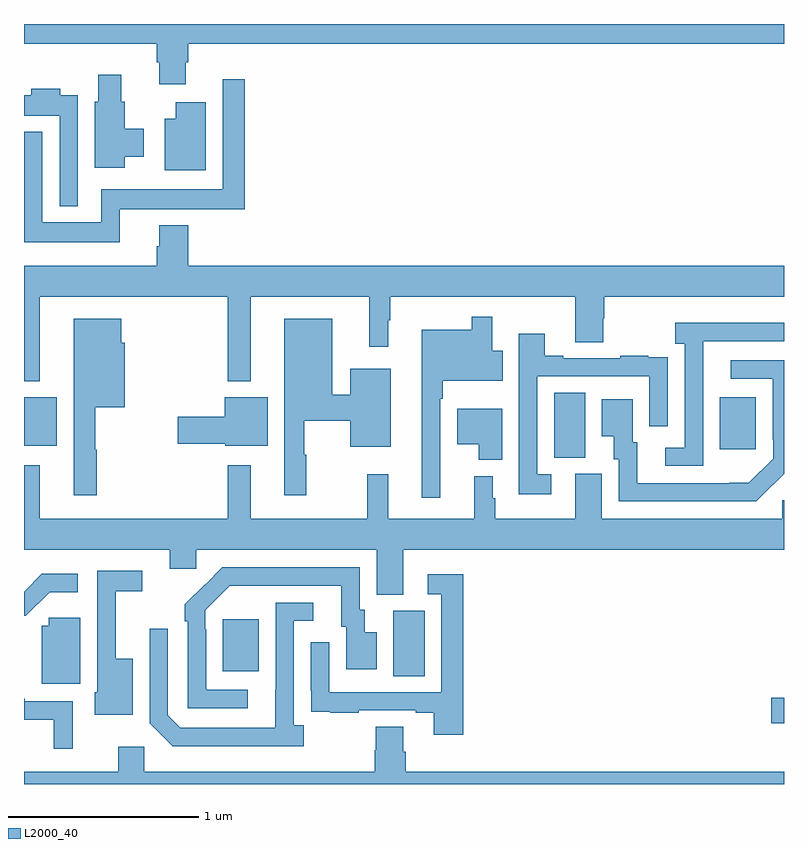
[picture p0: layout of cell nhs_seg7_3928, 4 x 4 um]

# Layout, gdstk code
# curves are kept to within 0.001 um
import gdstk
lib = gdstk.Library(unit=1e-6, precision=1e-09)
def R(c, l, rs):  # rectangles x0, y0, x1, y1
    for r in rs: c.add(gdstk.rectangle(r[:2], r[2:], *l))
def P(c, l, *ps):  # polygons
    for p in ps: c.add(gdstk.Polygon(p, *l))
L2000_40 = (2000, 40)

nhs_seg7_3928 = lib.new_cell('nhs_seg7_3928')
R(nhs_seg7_3928, L2000_40, [(362.934,1050.32,363,1050.455), (360.944,1050.568,361.108,1050.912), (360.047,1050.593,360.235,1050.868), (361.79,1051.717,361.954,1052.06), (362.663,1051.761,362.851,1052.035), (359,1051.781,359.173,1052.035)])
P(nhs_seg7_3928, L2000_40, [(359.851,1053.798),(359.864,1053.798),(359.864,1053.896),(363,1053.896),(363,1054),(359,1054),(359,1053.896),(359.699,1053.896),(359.699,1053.798),(359.711,1053.798),(359.711,1053.684),(359.851,1053.684)],
  [(359.53,1053.302),(359.629,1053.302),(359.629,1053.45),(359.53,1053.45),(359.53,1053.591),(359.512,1053.591),(359.512,1053.733),(359.39,1053.733),(359.39,1053.591),(359.372,1053.591),(359.372,1053.243),(359.53,1053.243)],
  [(359.504,1053.026),(360.038,1053.026),(360.038,1053.024),(360.161,1053.024),(360.161,1053.709),(360.045,1053.709),(360.045,1053.13),(359.406,1053.13),(359.406,1052.956),(359.097,1052.956),(359.097,1053.433),(359,1053.433),(359,1052.852),(359.504,1052.852)],
  [(359.283,1053.625),(359.191,1053.625),(359.191,1053.658),(359.039,1053.658),(359.039,1053.625),(359,1053.625),(359,1053.518),(359.187,1053.518),(359.187,1053.041),(359.283,1053.041)],
  [(359.956,1053.589),(359.798,1053.589),(359.798,1053.502),(359.741,1053.502),(359.741,1053.23),(359.956,1053.23)],
  [(359.083,1052.564),(360.072,1052.564),(360.072,1052.12),(360.193,1052.12),(360.193,1052.564),(360.818,1052.564),(360.818,1052.301),(360.916,1052.301),(360.916,1052.441),(360.928,1052.441),(360.928,1052.564),(361.901,1052.564),(361.901,1052.326),(362.049,1052.326),(362.049,1052.451),(362.054,1052.451),(362.054,1052.564),(363,1052.564),(363,1052.728),(359.864,1052.728),(359.864,1052.941),(359.711,1052.941),(359.711,1052.829),(359.699,1052.829),(359.699,1052.728),(359,1052.728),(359,1052.12),(359.083,1052.12)],
  [(361.191,1052.027),(361.204,1052.027),(361.204,1052.123),(361.519,1052.123),(361.519,1052.281),(361.465,1052.281),(361.465,1052.458),(361.356,1052.458),(361.356,1052.392),(361.094,1052.392),(361.094,1051.506),(361.191,1051.506)],
  [(360.485,1051.734),(360.475,1051.734),(360.475,1051.912),(360.716,1051.912),(360.716,1051.775),(360.931,1051.775),(360.931,1052.185),(360.716,1052.185),(360.716,1052.048),(360.622,1052.048),(360.622,1052.449),(360.371,1052.449),(360.371,1051.521),(360.485,1051.521)],
  [(359.383,1051.76),(359.375,1051.76),(359.375,1051.982),(359.53,1051.982),(359.53,1052.322),(359.512,1052.322),(359.512,1052.449),(359.261,1052.449),(359.261,1051.521),(359.383,1051.521)],
  [(362.574,1052.131),(362.575,1052.131),(362.575,1052.331),(363,1052.331),(363,1052.428),(362.427,1052.428),(362.427,1052.318),(362.478,1052.318),(362.478,1051.77),(362.376,1051.77),(362.376,1051.674),(362.574,1051.674)],
  [(361.774,1051.629),(361.701,1051.629),(361.701,1052.145),(362.292,1052.145),(362.292,1051.884),(362.388,1051.884),(362.388,1052.138),(362.387,1052.138),(362.387,1052.247),(362.285,1052.247),(362.285,1052.254),(362.137,1052.254),(362.137,1052.241),(361.837,1052.241),(361.837,1052.254),(361.741,1052.254),(361.741,1052.371),(361.605,1052.371),(361.605,1051.524),(361.774,1051.524)],
  [(362.945,1051.579),(362.946,1051.578),(363,1051.632),(363,1052.229),(362.721,1052.229),(362.721,1052.133),(362.94,1052.133),(362.94,1051.813),(362.943,1051.813),(362.943,1051.713),(362.815,1051.585),(362.227,1051.584),(362.227,1051.8),(362.203,1051.8),(362.203,1052.026),(362.042,1052.026),(362.042,1051.829),(362.105,1051.829),(362.105,1051.71),(362.13,1051.71),(362.13,1051.488),(362.854,1051.488)],
  [(360.283,1052.035),(360.056,1052.035),(360.056,1051.934),(359.808,1051.934),(359.808,1051.792),(360.06,1051.792),(360.06,1051.781),(360.283,1051.781)],
  [(361.516,1051.975),(361.28,1051.975),(361.28,1051.787),(361.394,1051.787),(361.394,1051.706),(361.516,1051.706)],
  [(360.997,1051.232),(363,1051.232),(363,1051.494),(362.991,1051.494),(362.991,1051.396),(362.041,1051.396),(362.041,1051.632),(361.901,1051.632),(361.901,1051.396),(361.48,1051.396),(361.48,1051.503),(361.468,1051.503),(361.468,1051.621),(361.37,1051.621),(361.37,1051.396),(360.917,1051.396),(360.917,1051.63),(360.807,1051.63),(360.807,1051.396),(360.193,1051.396),(360.193,1051.678),(360.072,1051.678),(360.072,1051.396),(359.083,1051.396),(359.083,1051.678),(359,1051.678),(359,1051.232),(359.768,1051.232),(359.768,1051.134),(359.907,1051.134),(359.907,1051.232),(360.857,1051.232),(360.857,1050.997),(360.997,1050.997)],
  [(360.178,1050.495),(359.958,1050.495),(359.958,1050.815),(359.955,1050.815),(359.955,1050.915),(360.084,1051.044),(360.671,1051.044),(360.671,1050.828),(360.695,1050.828),(360.695,1050.603),(360.856,1050.603),(360.856,1050.799),(360.793,1050.799),(360.793,1050.918),(360.768,1050.918),(360.768,1051.14),(360.044,1051.14),(359.847,1050.945),(359.847,1050.857),(359.862,1050.857),(359.862,1050.399),(360.178,1050.399)],
  [(359.572,1050.658),(359.483,1050.658),(359.483,1051.014),(359.623,1051.014),(359.623,1051.122),(359.385,1051.122),(359.385,1050.483),(359.373,1050.483),(359.373,1050.365),(359.572,1050.365)],
  [(359.135,1051.01),(359.284,1051.01),(359.284,1051.107),(359.094,1051.107),(359,1051.013),(359,1050.885),(359.009,1050.885)],
  [(361.313,1051.105),(361.125,1051.105),(361.125,1050.999),(361.197,1050.999),(361.197,1050.483),(360.606,1050.483),(360.606,1050.745),(360.51,1050.745),(360.51,1050.49),(360.511,1050.49),(360.511,1050.381),(360.613,1050.381),(360.613,1050.375),(360.761,1050.375),(360.761,1050.387),(361.061,1050.387),(361.061,1050.375),(361.157,1050.375),(361.157,1050.258),(361.313,1050.258)],
  [(360.472,1050.31),(360.42,1050.31),(360.42,1050.858),(360.523,1050.858),(360.523,1050.954),(360.324,1050.954),(360.323,1050.297),(359.823,1050.297),(359.757,1050.363),(359.757,1050.817),(359.661,1050.817),(359.661,1050.321),(359.782,1050.2),(360.472,1050.2)],
  [(359.296,1050.874),(359.13,1050.874),(359.13,1050.832),(359.093,1050.832),(359.093,1050.527),(359.296,1050.527)],
  [(359.256,1050.435),(359.005,1050.435),(359.005,1050.448),(359,1050.448),(359,1050.339),(359.156,1050.339),(359.156,1050.186),(359.256,1050.186)],
  [(363,1050.064),(361.01,1050.064),(361.01,1050.17),(360.997,1050.17),(360.997,1050.302),(360.85,1050.302),(360.85,1050.177),(360.845,1050.177),(360.845,1050.064),(359.634,1050.064),(359.634,1050.196),(359.495,1050.196),(359.495,1050.064),(359,1050.064),(359,1050),(363,1050)])

lib.write_gds('nhs_seg7_3928.gds')
